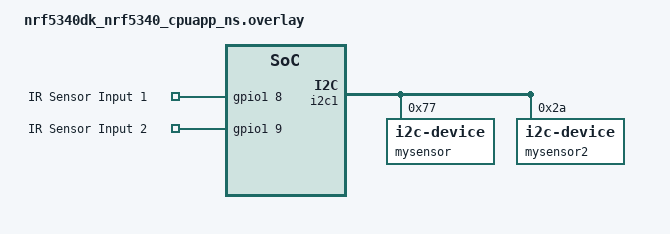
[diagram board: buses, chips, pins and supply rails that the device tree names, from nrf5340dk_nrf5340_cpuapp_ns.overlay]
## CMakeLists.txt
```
#
# Copyright (c) 2022 Nordic Semiconductor
#
# SPDX-License-Identifier: LicenseRef-Nordic-5-Clause
#
cmake_minimum_required(VERSION 3.20.0)

find_package(Zephyr REQUIRED HINTS $ENV{ZEPHYR_BASE})
project(NONE)

if (EXISTS "${CMAKE_CURRENT_SOURCE_DIR}/spm.conf")
  set(spm_CONF_FILE
    prj.conf
    ${CMAKE_CURRENT_LIST_DIR}/spm.conf
  )
endif()
 
if (EXISTS "${CMAKE_CURRENT_SOURCE_DIR}/mcuboot.conf")
  set(mcuboot_CONF_FILE
    prj.conf
    ${CMAKE_CURRENT_LIST_DIR}/mcuboot.conf
  )
endif()
 
if (EXISTS "${CMAKE_CURRENT_SOURCE_DIR}/${BOARD}.overlay")
  set(mcuboot_DTC_OVERLAY_FILE "${CMAKE_CURRENT_SOURCE_DIR}/${BOARD}.overlay")
  set(spm_DTC_OVERLAY_FILE "${CMAKE_CURRENT_SOURCE_DIR}/${BOARD}.overlay")
endif()

# NORDIC SDK APP START
target_sources(app PRIVATE
  src/main.c
  src/ble.c
  src/i2c.c
  src/ir_sensor.c
)

# NORDIC SDK APP END

zephyr_include_directories(memfault_config)
```

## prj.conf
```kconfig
#
# Copyright (c) 2022 Nordic Semiconductor
#
# SPDX-License-Identifier: LicenseRef-Nordic-5-Clause
#

# Enable Memfault! 🎉
CONFIG_MEMFAULT=y
CONFIG_MEMFAULT_NCS_PROJECT_KEY="NOWnIsbAn8oiQBR01D1xbgatQPdKD2s8"

# Configure the Memfault software_version and device_serial defaults.
# Note: in production, you will want to use memfault_ncs_device_id_set()
# to apply the real device serial on system initialization (i.e. retrieved
# from NVS, for the serial written during manufacturing)
CONFIG_MEMFAULT_NCS_FW_TYPE="app"
CONFIG_MEMFAULT_NCS_DEVICE_ID_STATIC=y
CONFIG_MEMFAULT_NCS_DEVICE_ID="ncs-ble-testdevice"

# Bluetooth device settings
CONFIG_BT=y
CONFIG_BT_SMP=y
CONFIG_BT_PERIPHERAL=y
CONFIG_BT_DEVICE_NAME="Smart_Beehive_01"
CONFIG_BT_PRIVACY=y

# Enable bonding
# CONFIG_BT_SETTINGS=y
CONFIG_FLASH=y
CONFIG_FLASH_PAGE_LAYOUT=y
CONFIG_FLASH_MAP=y
CONFIG_NVS=y
CONFIG_SETTINGS=y

# Enable Memfault shell
CONFIG_MEMFAULT_SHELL=y
CONFIG_SHELL=y
CONFIG_SENSOR_SHELL=n
CONFIG_BT_MDS_DATA_POLL_INTERVAL=30000

# Device dependencies 
CONFIG_DK_LIBRARY=y
CONFIG_BT_BAS=y
CONFIG_BT_MDS=y

# Bluetooth communication settings
CONFIG_BT_CTLR_PHY_2M=y
CONFIG_BT_BUF_ACL_RX_SIZE=502
CONFIG_BT_L2CAP_TX_MTU=498
CONFIG_BT_BUF_ACL_TX_SIZE=502
CONFIG_BT_CTLR_DATA_LENGTH_MAX=251

# Logging
CONFIG_LOG=y
CONFIG_LOG_PRINTK=n
CONFIG_LOG_DEFAULT_LEVEL=2
CONFIG_LOG_MODE_DEFERRED=y
CONFIG_LOG_MODE_OVERFLOW=y
CONFIG_LOG_BACKEND_RTT=n

# Heap memory is required for the memfault_demo_cli.c
CONFIG_HEAP_MEM_POOL_SIZE=200000

# This example requires more stack
CONFIG_SYSTEM_WORKQUEUE_STACK_SIZE=2048
CONFIG_MAIN_STACK_SIZE=4096

# Enable User Phy Update to disable Auto Phy Update that may cause collision with certain devices
CONFIG_BT_USER_PHY_UPDATE=y

# Enable default sample settings
CONFIG_NCS_SAMPLES_DEFAULTS=y

# Enable I2C
CONFIG_TFM_SECURE_UART=n
CONFIG_TFM_LOG_LEVEL_SILENCE=y
CONFIG_I2C=y
CONFIG_SENSOR=y
CONFIG_BMP388=y

#Enable the custon ble library in the build
CONFIG_BLEFUNCTION=y

CONFIG_GPIO=y
```

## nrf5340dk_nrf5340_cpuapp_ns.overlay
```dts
// To get started, press Ctrl+Space to bring up the completion menu and view the available nodes.

// You can also use the buttons in the sidebar to perform actions on nodes.
// Actions currently available include:

// * Enabling / disabling the node
// * Adding the bus to a bus
// * Removing the node
// * Connecting ADC channels

// For more help, browse the DeviceTree documentation at https://docs.zephyrproject.org/latest/guides/dts/index.html
// You can also visit the nRF DeviceTree extension documentation at https://docs.nordicsemi.com/bundle/nrf-connect-vscode/page/guides/ncs_configure_app.html#devicetree-support-in-the-extension
&i2c1 {  
    mysensor: mysensor@77{
        compatible = "i2c-device";
        status = "okay";
        reg = < 0x77 >;
    };
    
    mysensor2: mysensor2@2A {
        compatible = "i2c-device";
        status = "okay";
        reg = <0x2A>;
    };
};
/ {
    ir_sensors {
        compatible = "gpio-keys";
        ir_input1: ir_input1 {
            gpios = <&gpio1 8 GPIO_ACTIVE_HIGH>;
            label = "IR Sensor Input 1";
        };
        ir_input2: ir_input2 {
            gpios = <&gpio1 9 GPIO_ACTIVE_HIGH>;
            label = "IR Sensor Input 2";
        };
    };
};
```

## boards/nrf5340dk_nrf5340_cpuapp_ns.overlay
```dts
// To get started, press Ctrl+Space to bring up the completion menu and view the available nodes.

// You can also use the buttons in the sidebar to perform actions on nodes.
// Actions currently available include:

// * Enabling / disabling the node
// * Adding the bus to a bus
// * Removing the node
// * Connecting ADC channels

// For more help, browse the DeviceTree documentation at https://docs.zephyrproject.org/latest/guides/dts/index.html
// You can also visit the nRF DeviceTree extension documentation at https://docs.nordicsemi.com/bundle/nrf-connect-vscode/page/guides/ncs_configure_app.html#devicetree-support-in-the-extension
&i2c1 {  
    mysensor: mysensor@77{
        compatible = "i2c-device";
        status = "okay";
        reg = < 0x77 >;
    };
    
    mysensor2: mysensor2@2A {
        compatible = "i2c-device";
        status = "okay";
        reg = <0x2A>;
    };

    clock-frequency = <250000>;
};
/ {
    ir_sensors {
        compatible = "gpio-keys";
        ir_input1: ir_input1 {
            gpios = <&gpio1 8 0>;
            label = "IR Sensor Input 1";
        };
        ir_input2: ir_input2 {
            gpios = <&gpio1 9 0>;
            label = "IR Sensor Input 2";
        };
    };
};
```

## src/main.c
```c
#include <zephyr/kernel.h>
#include <zephyr/logging/log.h>
#include <zephyr/bluetooth/bluetooth.h>
#include <zephyr/bluetooth/gap.h>
#include <zephyr/bluetooth/uuid.h>
#include <zephyr/bluetooth/conn.h>
#include <bluetooth/services/mds.h>
#include <zephyr/settings/settings.h>
#include <dk_buttons_and_leds.h>
#include <memfault/core/data_export.h>

#include <memfault/metrics/metrics.h>
#include <memfault/core/trace_event.h>
#include "memfault/metrics/platform/overrides.h"

#ifdef CONFIG_BLEFUNCTION
#include "ble.h"
#endif

#ifdef CONFIG_BLEFUNCTION
#include "i2c.h"
#endif

#ifdef CONFIG_BLEFUNCTION
#include "ir_sensor.h"
#endif

#define DEVICE_NAME CONFIG_BT_DEVICE_NAME
#define DEVICE_NAME_LEN (sizeof(DEVICE_NAME) - 1)
#define MEMFAULT_EVENT_INCLUDE_DEVICE_SERIAL 1

#define STACKSIZE 1024
#define PRIORITY 7

#define RUN_STATUS_LED DK_LED1
#define CON_STATUS_LED DK_LED2
/*Button to be controlled*/
#define USER_BUTTON DK_BTN1_MSK
/*Led to be controlled */
#define USER_LED DK_LED3
/*Interval for status led */
#define RUN_LED_BLINK_INTERVAL 1000
/*Interval at which the sensor data is sent*/
#define NOTIFY_INTERVAL 3000

LOG_MODULE_REGISTER(Sensor_Data, LOG_LEVEL_INF);

static bool app_button_state;
static int32_t temp_sensor_value = 100;
static int32_t pressure_sensor_value = 98;
static int32_t load_cell_value = 300;
static uint32_t bee_count = 0;

static struct bt_conn *mds_conn;
/*Function to simulate data*/
// static void simulate_data(void)
// {
// 	temp_sensor_value++;
// 	load_cell_value++;
// 	if (temp_sensor_value == 200) {
// 		temp_sensor_value = 100;
// 	}

// 	if (load_cell_value == 500) {
// 		load_cell_value = 500;
// 	}
// }

/*Thread to send sensor data*/
void send_data_thread(void)
{
	while(1){
		read_sensor_data(&temp_sensor_value, &pressure_sensor_value, &load_cell_value);
		ir_sensor_update_bee_count();
		bee_count = ir_sensor_get_bee_count();
		LOG_INF("**************************************");
		LOG_INF("Temperature value: %u°C", temp_sensor_value);
		LOG_INF("Pressure value: %u hPa", pressure_sensor_value);
		LOG_INF("Load Cell value: %u g", load_cell_value);
		LOG_INF("Bee Count: %u", bee_count);
		LOG_INF("**************************************");
		/* Send notification, the function sends notifications only if a client is subscribed */
		my_lbs_send_sensor_notify(temp_sensor_value);

		my_lbs_send_sensor2_notify(load_cell_value);

		MEMFAULT_METRIC_SET_UNSIGNED(hive_temperature, temp_sensor_value);
		MEMFAULT_METRIC_SET_UNSIGNED(hive_pressure, pressure_sensor_value);
		MEMFAULT_METRIC_SET_UNSIGNED(honey_collected, load_cell_value);
		MEMFAULT_METRIC_SET_UNSIGNED(bee_count, bee_count);
        memfault_metrics_heartbeat_debug_trigger();

		k_sleep(K_MSEC(NOTIFY_INTERVAL));
	}
		
}

/*Parmeters for advertising data*/
static const struct bt_le_adv_param *adv_param = BT_LE_ADV_PARAM(
	(BT_LE_ADV_OPT_CONNECTABLE |
	 BT_LE_ADV_OPT_USE_IDENTITY), /* Connectable advertising and use identity address */
	800, /* Min Advertising Interval 500ms (800*0.625ms) */
	801, /* Max Advertising Interval 500.625ms (801*0.625ms) */
	NULL); /* Set to NULL for undirected advertising */

/*Data to be sent during advertising */
static const struct bt_data ad[] = {
	BT_DATA_BYTES(BT_DATA_FLAGS, (BT_LE_AD_GENERAL | BT_LE_AD_NO_BREDR)),
	BT_DATA_BYTES(BT_DATA_UUID128_ALL, BT_UUID_MDS_VAL),
};

static const struct bt_data sd[] = {
	BT_DATA(BT_DATA_NAME_COMPLETE, DEVICE_NAME, DEVICE_NAME_LEN),
};

/* Define the application callback function for controlling the LED */
static void app_led_cb(bool led_state)
{
	dk_set_led(USER_LED, led_state);
}

/* Define the application callback function for reading the state of the button */
static bool app_button_cb(void)
{
	return app_button_state;
}

/* Declare a varaible app_callbacks of type my_lbs_cb and initiate its members to the applications call back functions we developed in steps 8.2 and 9.2. */
static struct my_lbs_cb app_callbacks = {
	.led_cb = app_led_cb,
	.button_cb = app_button_cb,
};

static bool mds_access_enable(struct bt_conn *conn)
{
	if (mds_conn && (conn == mds_conn)) {
		return true;
	}

	return false;
}

static const struct bt_mds_cb mds_cb = {
	.access_enable = mds_access_enable,
};

static void button_changed(uint32_t button_state, uint32_t has_changed)
{

	uint32_t buttons = button_state & has_changed;

	if (buttons & DK_BTN1_MSK) {
		MEMFAULT_TRACE_EVENT_WITH_LOG(button_1_state_changed, "Sensor 1 Reading: %x",
					      temp_sensor_value);

		printk("Sensor 1 Reading has been tracked, button state: %x\n",
		       temp_sensor_value);

		MEMFAULT_METRIC_SET_UNSIGNED(hive_temperature, temp_sensor_value);
		memfault_metrics_heartbeat_debug_trigger();
	}

	if (has_changed & DK_BTN2_MSK) {
		MEMFAULT_TRACE_EVENT_WITH_LOG(button_2_state_changed, "Sensor 2 Reading: %x",
					      load_cell_value);

		printk("Sensor 2 Reading has been tracked, button state: %x\n",
		       load_cell_value);

		MEMFAULT_METRIC_SET_UNSIGNED(honey_collected, load_cell_value);
		memfault_metrics_heartbeat_debug_trigger();
	}

	if (buttons & DK_BTN4_MSK) {
		volatile uint32_t i;

		printk("Division by zero will now be triggered\n");
#pragma GCC diagnostic push
#pragma GCC diagnostic ignored "-Wdiv-by-zero"
		i = 1 / 0;
#pragma GCC diagnostic pop
		ARG_UNUSED(i);
	}
}

/*Callback function to be called when connected */
static void on_connected(struct bt_conn *conn, uint8_t err)
{
	if (err) {
		printk("Connection failed (err %u)\n", err);
		return;
	}

	printk("Connected\n");

	if (conn == mds_conn) {
		mds_conn = conn;
	}

	dk_set_led_on(CON_STATUS_LED);
}

/*Callback function to be called when disconnected*/
static void on_disconnected(struct bt_conn *conn, uint8_t reason)
{
	printk("Disconnected (reason %u)\n", reason);

	dk_set_led_off(CON_STATUS_LED);

	if (conn == mds_conn) {
		mds_conn = NULL;
	}
}

/*Callback fucntion to be called when security changed*/
static void on_security_changed(struct bt_conn *conn, bt_security_t level, enum bt_security_err err)
{
	char addr[BT_ADDR_LE_STR_LEN];

	bt_addr_le_to_str(bt_conn_get_dst(conn), addr, sizeof(addr));

	if (!err) {
		LOG_INF("Security changed: %s level %u\n", addr, level);
		if (!mds_conn) {
			mds_conn = conn;
		}
	} else {
		LOG_INF("Security failed: %s level %u err %d\n", addr, level, err);
	}
}

/*Register the connected and disconnected callbacks*/
struct bt_conn_cb connection_callbacks = {
	/*BLE pairing successful*/
	.connected = on_connected,
	/*BLE connection diconnected*/
	.disconnected = on_disconnected,
	/*Security protocol changed */
	.security_changed = on_security_changed,
};

/*Function to print the passkey for central device*/
static void auth_passkey_display(struct bt_conn *conn, unsigned int passkey)
{
	char addr[BT_ADDR_LE_STR_LEN];
	bt_addr_le_to_str(bt_conn_get_dst(conn), addr, sizeof(addr));
	LOG_INF("Passkey for %s: %06u\n", addr, passkey);
}

/*Function to nptify when the pairing process has failed*/
static void auth_cancel(struct bt_conn *conn)
{
	char addr[BT_ADDR_LE_STR_LEN];
	bt_addr_le_to_str(bt_conn_get_dst(conn), addr, sizeof(addr));
	LOG_INF("Pairing cancelled: %s\n", addr);
}

/*Declare the authentication callback structure*/
static struct bt_conn_auth_cb conn_auth_callbacks = {
	.passkey_display = auth_passkey_display,
	.cancel = auth_cancel,
};


static int init_button(void)
{
	int err;

	err = dk_buttons_init(button_changed);
	if (err) {
		printk("Cannot init buttons (err: %d)\n", err);
	}

	return err;
}

int main(void)
{	
	int blink_status = 0;
	int err;

	LOG_INF("Starting Application Code");

	err = dk_leds_init();
	if (err) {
		LOG_ERR("LEDs init failed (err %d)\n", err);
		return -1;
	}

	err = ir_sensor_init();
	if (err) {
		LOG_ERR("IR sensor init failed (err %d)\n", err);
		return -1;
	}

	err = init_button();
	if (err) {
		printk("Button init failed (err %d)\n", err);
		return -1;
	}

	err = i2c_init();
    if (err) {
        LOG_ERR("I2C init failed (err %d)\n", err);
        return -1;
    }

	err = bt_mds_cb_register(&mds_cb);
	if (err) {
		printk("Memfault Diagnostic service callback registration failed (err %d)\n", err);
		return 0;
	}

	err = bt_enable(NULL);
	if (err) {
		LOG_ERR("Bluetooth init failed (err %d)\n", err);
		return -1;
	}

	// Add a short delay, to ensure that the Bluetooth controller is fully initialized before starting advertising.
	k_sleep(K_MSEC(100));

	err = bt_conn_auth_cb_register(&conn_auth_callbacks);
	if (err) {
		LOG_INF("Failed to register authorization callbacks.\n");
		return -1;
	}
	
	bt_conn_cb_register(&connection_callbacks);

        err = my_lbs_init(&app_callbacks);
	if (err) {
		printk("Failed to init LBS (err:%d)\n", err);
		return -1;
	}

	LOG_INF("Bluetooth initialized\n");

	if (IS_ENABLED(CONFIG_SETTINGS)) {
		err = settings_load();
		if (err) {
			printk("Failed to load settings (err %d)\n", err);
			return 0;
		}
	}

	err = bt_le_adv_start(adv_param, ad, ARRAY_SIZE(ad), sd, ARRAY_SIZE(sd));
	if (err) {
		LOG_ERR("Advertising failed to start (err %d)\nRetrying...\n", err);
		err = bt_le_adv_start(adv_param, ad, ARRAY_SIZE(ad), sd, ARRAY_SIZE(sd));
		if (err) {
			LOG_ERR("Advertising failed to start (err %d)\n", err);
			return -1;
		}
	}

	LOG_INF("Advertising successfully started\n");

	while(1){
		dk_set_led(RUN_STATUS_LED, (++blink_status) % 2);
		k_sleep(K_MSEC(RUN_LED_BLINK_INTERVAL));
	}
}

/*Thread defined to send sensor data*/
K_THREAD_DEFINE(send_data_thread_id, STACKSIZE, send_data_thread, NULL, NULL, NULL, PRIORITY, 0, 0);
```

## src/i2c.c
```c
#include "i2c.h"
#include <zephyr/kernel.h>
#include <zephyr/logging/log.h>
#include <time.h>
#include <stdio.h>
#include <stdint.h>
#include <stdlib.h>
#include <zephyr/drivers/sensor.h>

LOG_MODULE_REGISTER(i2c_module, LOG_LEVEL_INF);

#define I2C_NODE DT_NODELABEL(i2c1)

static const struct device *i2c_dev;

#define BMP388_LABEL "BMP388"
#define NAU7802_ADDR 0x2A

#define NAU7802_PU_CTRL 0x00
#define NAU7802_ADC_REG 0x12

static const struct device *i2c_dev;


static void bmp388_init(void)
{
    const struct device *bmp388 = DEVICE_DT_GET_ANY(bosch_bmp388);

    if (!device_is_ready(bmp388)) {
        printk("BMP388 device not ready\n");
        return;
    }

    printk("BMP388 device initialized\n");
}

int i2c_init(void)
{
    i2c_dev = DEVICE_DT_GET(I2C_NODE);
    if (!device_is_ready(i2c_dev)) {
        LOG_ERR("I2C device not ready");
        return -1;
    }

    bmp388_init();

    // Power up the NAU7802
    uint8_t reg = NAU7802_PU_CTRL;
    uint8_t pu_ctrl = 0x06;
    if (i2c_write(i2c_dev, &pu_ctrl, 1, NAU7802_ADDR) != 0) {
        LOG_ERR("Failed to initialize NAU7802");
        return -1;
    }

    printk("NAU7802 initialized\n");

    return 0;
}

static void bmp388_read(int32_t *temp_value, int32_t *pressure_value)
{
    const struct device *bmp388 = DEVICE_DT_GET_ANY(bosch_bmp388);
    struct sensor_value temp, press;

    sensor_sample_fetch(bmp388);
    sensor_channel_get(bmp388, SENSOR_CHAN_AMBIENT_TEMP, &temp);
    sensor_channel_get(bmp388, SENSOR_CHAN_PRESS, &press);

    printk("Temperature: %.2f °C\n", sensor_value_to_double(&temp));
    printk("Pressure: %.2f hPa\n", sensor_value_to_double(&press) / 100);

    *temp_value = &temp;
    *pressure_value = &press;
}

static int32_t nau7802_read(void)
{
    uint8_t reg = NAU7802_ADC_REG;
    uint8_t data[3];
    int32_t result;

    i2c_write_read(i2c_dev, NAU7802_ADDR, &reg, 1, data, 3);

    result = (data[0] << 16) | (data[1] << 8) | data[2];
    if (result & 0x800000) {
        result |= 0xFF000000;  // Sign extend
    }

    return result;
}

void read_sensor_data(int32_t *temp_value, int32_t *pressure_value, int32_t *load_value)
{
    bmp388_read(temp_value, pressure_value);
    load_value = nau7802_read();
}
```

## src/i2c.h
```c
#ifndef I2C_H
#define I2C_H

#include <zephyr/drivers/i2c.h>

#define SENSOR1_ADDR 0x77
#define SENSOR2_ADDR 0x2A

int i2c_init(void);
void read_sensor_data(int32_t *sensor1_value, int32_t *sensor2_value, int32_t *sensor3_value);
#endif // I2C_H
```

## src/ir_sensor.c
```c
#include "ir_sensor.h"
#include <zephyr/kernel.h>
#include <zephyr/logging/log.h>
#include <zephyr/device.h>

LOG_MODULE_REGISTER(ir_sensor, LOG_LEVEL_INF);

#define GPIO_NODE DT_NODELABEL(gpio1)

static const struct device *gpio_dev;
static int bee_count = 0;
static bool sensor1_last_state = false;
static bool sensor2_last_state = false;

int ir_sensor_init(void)
{
    int ret;

    gpio_dev = DEVICE_DT_GET(GPIO_NODE);
    if (!device_is_ready(gpio_dev)) {
        LOG_ERR("GPIO device not ready");
        return -ENODEV;
    }

    ret = gpio_pin_configure(gpio_dev, IR_SENSOR1_PIN, GPIO_INPUT);
    if (ret < 0) {
        LOG_ERR("Failed to configure IR sensor 1 GPIO pin");
        return ret;
    }

    ret = gpio_pin_configure(gpio_dev, IR_SENSOR2_PIN, GPIO_INPUT);
    if (ret < 0) {
        LOG_ERR("Failed to configure IR sensor 2 GPIO pin");
        return ret;
    }

    LOG_INF("IR sensors initialized");
    return 0;
}

bool ir_sensor_read(uint8_t sensor_pin)
{
    return gpio_pin_get(gpio_dev, sensor_pin) == 0;  // Assuming active-low sensors
}

void ir_sensor_update_bee_count(void)
{
    bool sensor1_current_state = ir_sensor_read(IR_SENSOR1_PIN);
    bool sensor2_current_state = ir_sensor_read(IR_SENSOR2_PIN);
    LOG_INF("IR 1 State: %x", sensor1_current_state);
    LOG_INF("IR 2 State: %x", sensor2_current_state);

    LOG_INF("Bee Count: %d", bee_count);

    // Bee entering
    if (sensor1_current_state && !sensor1_last_state && !sensor2_current_state) {
        bee_count++;
        // LOG_INF("xxxxxxBee entered. Count: %d", bee_count);
        LOG_INF("Bee entered. Count: %d", bee_count);
    }
    // Bee exiting
    else if (sensor2_current_state && !sensor2_last_state && !sensor1_current_state) {
        bee_count--;
        // LOG_INF("yyyyyyBee entered. Count: %d", bee_count);
        LOG_INF("Bee exited. Count: %d", bee_count);
    }

    sensor1_last_state = sensor1_current_state;
    sensor2_last_state = sensor2_current_state;
}

int ir_sensor_get_bee_count(void)
{
    return bee_count;
}
```

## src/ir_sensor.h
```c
#ifndef IR_SENSOR_H
#define IR_SENSOR_H

#include <zephyr/drivers/gpio.h>

#define IR_SENSOR1_PIN 8  // P1.08
#define IR_SENSOR2_PIN 9  // P1.09

int ir_sensor_init(void);
bool ir_sensor_read(uint8_t sensor_pin);
void ir_sensor_update_bee_count(void);
int ir_sensor_get_bee_count(void);

#endif // IR_SENSOR_H
```
